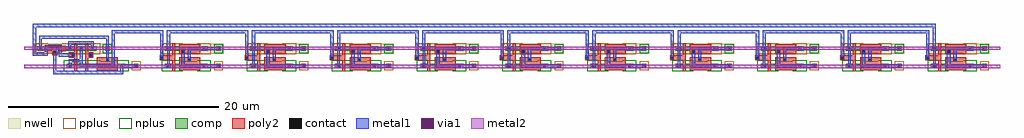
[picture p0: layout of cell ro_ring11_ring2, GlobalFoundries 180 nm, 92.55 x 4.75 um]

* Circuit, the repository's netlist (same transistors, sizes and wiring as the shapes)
* ro_ring11_ring2 -- LVS reference (schematic-side) netlist, ring2 sizing.
*
* Hand-derived, NOT a copy of `klt extract` output -- see
* layout/testcells/trng_tc_inv.spice for why that distinction matters (an
* LVS run whose reference is the extractor's own output proves nothing).
* Same technique as layout/rings/ro_ring11/ro_ring11.spice's own header
* describes: *mechanically expanded* by hand (eleven lines of
* substitution) from layout/cells/ro_stage_ring2/ro_stage_ring2.spice and
* layout/cells/ro_nand2_ring2/ro_nand2_ring2.spice -- each already
* independently hand-transcribed from its own xschem schematic -- following
* exactly the connectivity design/ro_array_core.spice's own `.subckt
* ro_ring11` declares, at ring2's own instantiation (`xr2 ... ro_ring11
* wstv=0.240u lstv=2u ...`):
*
*   xg  ro en n1  vddr vss ro_nand2   (a=ro en=en y=n1)
*   x1  n1    n2  vddr vss ro_stage   (a=n1 y=n2)
*   x2  n2    n3  vddr vss ro_stage
*   ...
*   x10 n10   ro  vddr vss ro_stage   (a=n10 y=ro, closing the loop)
*
* This still satisfies "independent of the layout": neither this file nor
* its two source references were ever derived from this cell's own drawn
* geometry or from `klt extract`'s output on it -- ro_stage_ring2.spice and
* ro_nand2_ring2.spice are each independently hand-transcribed from their
* own schematic, and the chain above is the *design*'s own declared
* netlist (design/ro_array_core.spice), not this layout's.
*
* Each instance keeps its own internal nodes (`py`/`ny`/`nm` -- the
* series-starve/internal nodes neither ro_stage_ring2.spice nor
* ro_nand2_ring2.spice exposes as a pin) suffixed by instance name
* (`py_X1`, `ny_XG`, ...) so eleven separately-drawn cells' internal nodes
* are never accidentally tied together by a shared name.
*
* Device sizes must agree with layout/cells/ro_stage_ring2/build.py's and
* layout/cells/ro_nand2_ring2/build.py's own W/L constants (ring2 sizing,
* `wstv=0.24u` on every starve device, `wstv` unaffected on the switching
* pairs) -- `klt lvs` compares W and L as device properties, the same rule
* every other reference in this repository follows.
*
* Bulk terminals: every cell, ring and block draws an Nwell tap tied to
* `vddr` and a substrate tap tied to `vss` (layout/testcells/gdsii.py's
* `add_taps`; klt >= 0.8.0's `comp.tap_distance.*` requires them), so the
* extractor reports every PMOS bulk as `vddr` and every NMOS bulk as
* `vss` -- the same bulk connections design/xschem/ wires. There is no
* `vsubs` pin and no floating-well net any more.

.SUBCKT ro_ring11_ring2 en ro vddr vss
MMPH_XG py_XG vss vddr vddr pfet L=2.0U W=0.24U
MMPA_XG n1 ro py_XG vddr pfet L=0.28U W=0.44U
MMPB_XG n1 en py_XG vddr pfet L=0.28U W=0.44U
MMNA_XG n1 ro nm_XG vss nfet L=0.28U W=0.44U
MMNB_XG nm_XG en ny_XG vss nfet L=0.28U W=0.44U
MMNT_XG ny_XG vddr vss vss nfet L=2.0U W=0.24U
MMPH_X1 py_X1 vss vddr vddr pfet L=2.0U W=0.24U
MMP_X1 n2 n1 py_X1 vddr pfet L=0.28U W=0.44U
MMN_X1 n2 n1 ny_X1 vss nfet L=0.28U W=0.22U
MMNT_X1 ny_X1 vddr vss vss nfet L=2.0U W=0.24U
MMPH_X2 py_X2 vss vddr vddr pfet L=2.0U W=0.24U
MMP_X2 n3 n2 py_X2 vddr pfet L=0.28U W=0.44U
MMN_X2 n3 n2 ny_X2 vss nfet L=0.28U W=0.22U
MMNT_X2 ny_X2 vddr vss vss nfet L=2.0U W=0.24U
MMPH_X3 py_X3 vss vddr vddr pfet L=2.0U W=0.24U
MMP_X3 n4 n3 py_X3 vddr pfet L=0.28U W=0.44U
MMN_X3 n4 n3 ny_X3 vss nfet L=0.28U W=0.22U
MMNT_X3 ny_X3 vddr vss vss nfet L=2.0U W=0.24U
MMPH_X4 py_X4 vss vddr vddr pfet L=2.0U W=0.24U
MMP_X4 n5 n4 py_X4 vddr pfet L=0.28U W=0.44U
MMN_X4 n5 n4 ny_X4 vss nfet L=0.28U W=0.22U
MMNT_X4 ny_X4 vddr vss vss nfet L=2.0U W=0.24U
MMPH_X5 py_X5 vss vddr vddr pfet L=2.0U W=0.24U
MMP_X5 n6 n5 py_X5 vddr pfet L=0.28U W=0.44U
MMN_X5 n6 n5 ny_X5 vss nfet L=0.28U W=0.22U
MMNT_X5 ny_X5 vddr vss vss nfet L=2.0U W=0.24U
MMPH_X6 py_X6 vss vddr vddr pfet L=2.0U W=0.24U
MMP_X6 n7 n6 py_X6 vddr pfet L=0.28U W=0.44U
MMN_X6 n7 n6 ny_X6 vss nfet L=0.28U W=0.22U
MMNT_X6 ny_X6 vddr vss vss nfet L=2.0U W=0.24U
MMPH_X7 py_X7 vss vddr vddr pfet L=2.0U W=0.24U
MMP_X7 n8 n7 py_X7 vddr pfet L=0.28U W=0.44U
MMN_X7 n8 n7 ny_X7 vss nfet L=0.28U W=0.22U
MMNT_X7 ny_X7 vddr vss vss nfet L=2.0U W=0.24U
MMPH_X8 py_X8 vss vddr vddr pfet L=2.0U W=0.24U
MMP_X8 n9 n8 py_X8 vddr pfet L=0.28U W=0.44U
MMN_X8 n9 n8 ny_X8 vss nfet L=0.28U W=0.22U
MMNT_X8 ny_X8 vddr vss vss nfet L=2.0U W=0.24U
MMPH_X9 py_X9 vss vddr vddr pfet L=2.0U W=0.24U
MMP_X9 n10 n9 py_X9 vddr pfet L=0.28U W=0.44U
MMN_X9 n10 n9 ny_X9 vss nfet L=0.28U W=0.22U
MMNT_X9 ny_X9 vddr vss vss nfet L=2.0U W=0.24U
MMPH_X10 py_X10 vss vddr vddr pfet L=2.0U W=0.24U
MMP_X10 ro n10 py_X10 vddr pfet L=0.28U W=0.44U
MMN_X10 ro n10 ny_X10 vss nfet L=0.28U W=0.22U
MMNT_X10 ny_X10 vddr vss vss nfet L=2.0U W=0.24U
.ENDS ro_ring11_ring2

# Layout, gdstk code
import gdstk
lib = gdstk.Library(unit=1e-6, precision=1e-09)
def R(c, l, rs):  # rectangles x0, y0, x1, y1
    for r in rs: c.add(gdstk.rectangle(r[:2], r[2:], *l))
def A(c, l, x, y, w, h, nx, ny, dx, dy):  # array of equal rectangles
    R(c, l, [(x+i*dx, y+j*dy, x+i*dx+w, y+j*dy+h) for i in range(nx) for j in range(ny)])
nwell = (21, 0)
comp = (22, 0)
poly2 = (30, 0)
pplus = (31, 0)
nplus = (32, 0)
contact = (33, 0)
metal1 = (34, 0)
via1 = (35, 0)
metal2 = (36, 0)

xg__ro_nand2_ring2 = lib.new_cell('xg__ro_nand2_ring2')
R(xg__ro_nand2_ring2, nwell, [(-3.05,1.39,3.11,2.33), (3.01,1.39,4.33,2.33)])
R(xg__ro_nand2_ring2, comp, [(0,0,2.86,0.44), (4.86,0,5.56,0.44), (6.36,0,6.8,0.44), (2.86,0.1,4.86,0.34), (-2.8,1.64,-2.1,2.08), (-0.1,1.64,2.86,2.08), (3.64,1.64,4.08,2.08), (-2.1,1.74,-0.1,1.98)])
R(xg__ro_nand2_ring2, poly2, [(0.7,-0.3,0.98,2.38), (1.78,-0.3,2.06,2.38), (2.86,-0.2,4.86,1.05), (0.2,1,0.98,1.5), (1.78,1,2.5,1.5), (-1.35,1.25,-0.85,1.7), (-2.1,1.59,-0.1,2.13)])
R(xg__ro_nand2_ring2, pplus, [(6.16,-0.2,7,0.64), (-3.1,1.34,-1.8,2.38), (-0.4,1.34,3.16,2.38), (-2.4,1.44,0.2,2.28)])
R(xg__ro_nand2_ring2, nplus, [(-0.3,-0.3,3.16,0.74), (4.56,-0.3,5.86,0.74), (2.56,-0.2,5.16,0.64), (3.44,1.44,4.28,2.28)])
R(xg__ro_nand2_ring2, contact, [(0.24,0.11,0.46,0.33), (5.1,0.11,5.32,0.33), (6.47,0.11,6.69,0.33), (3.75,0.7,3.97,0.92), (0.48,1.14,0.7,1.36), (2.15,1.14,2.37,1.36), (-1.24,1.4,-1.02,1.62), (-2.6,1.75,-2.38,1.97), (0.18,1.75,0.4,1.97), (1.27,1.75,1.49,1.97), (2.34,1.75,2.56,1.97), (3.75,1.75,3.97,1.97)])
R(xg__ro_nand2_ring2, metal1, [(-1.26,-0.55,-1,1.64), (-1.26,-0.55,5.34,-0.25), (5.08,-0.55,5.34,0.35), (5.24,0.07,6.8,0.37), (0.2,0.09,0.5,0.85), (0.2,0.55,1.53,0.85), (1.23,0.55,1.53,1.99), (3.73,0.68,3.99,3.1), (0.44,1.1,0.74,1.4), (2.11,1.1,2.41,1.4), (-2.62,1.73,-2.36,3.1), (0.16,1.73,0.42,2.55), (2.32,1.73,2.58,2.55), (0.16,2.25,2.58,2.55), (-2.62,2.8,3.99,3.1)])
xg__ro_nand2_ring2.add(gdstk.Label('a', (0.59,1.25), layer=34, texttype=10))
xg__ro_nand2_ring2.add(gdstk.Label('en', (2.26,1.25), layer=34, texttype=10))
xg__ro_nand2_ring2.add(gdstk.Label('y', (0.35,0.22), layer=34, texttype=10))
xg__ro_nand2_ring2.add(gdstk.Label('vddr', (-2.45,1.86), layer=34, texttype=10))
xg__ro_nand2_ring2.add(gdstk.Label('vss', (5.21,0.22), layer=34, texttype=10))

x1__ro_stage_ring2 = lib.new_cell('x1__ro_stage_ring2')
R(x1__ro_stage_ring2, nwell, [(-0.25,1.39,4.33,2.33), (4.23,1.39,5.57,2.33)])
R(x1__ro_stage_ring2, comp, [(0,0,0.7,0.44), (0.98,0,1.38,0.44), (3.38,0,4.08,0.44), (4.88,0,5.32,0.44), (1.38,0.1,3.38,0.34), (0.7,0.11,0.98,0.33), (0,1.64,0.7,2.08), (0.7,1.64,1.38,2.08), (3.38,1.64,4.08,2.08), (4.88,1.64,5.32,2.08), (1.38,1.74,3.38,1.98)])
R(x1__ro_stage_ring2, poly2, [(0.7,-0.3,0.98,2.38), (1.38,-0.2,3.38,1.05), (-0.5,0.75,0.98,1.25), (1.38,1.35,3.38,2.28)])
R(x1__ro_stage_ring2, pplus, [(4.68,-0.2,5.52,0.64), (-0.3,1.34,1,2.38), (0.4,1.34,1.68,2.38), (3.08,1.34,4.38,2.38), (1.08,1.44,3.68,2.28)])
R(x1__ro_stage_ring2, nplus, [(-0.3,-0.3,1,0.74), (0.68,-0.3,1.68,0.74), (3.08,-0.3,4.38,0.74), (1.08,-0.2,3.68,0.64), (0.4,-0.19,1.28,0.63), (4.68,1.44,5.52,2.28)])
R(x1__ro_stage_ring2, contact, [(0.24,0.11,0.46,0.33), (3.62,0.11,3.84,0.33), (4.99,0.11,5.21,0.33), (2.2,0.7,2.42,0.92), (-0.4,0.89,-0.18,1.11), (1.6,1.48,1.82,1.7), (0.24,1.75,0.46,1.97), (3.62,1.75,3.84,1.97), (4.99,1.75,5.21,1.97)])
R(x1__ro_stage_ring2, metal1, [(0.14,0.01,0.56,0.43), (3.52,0.01,3.94,0.43), (1.54,0.07,3.9,0.37), (3.84,0.07,5.32,0.37), (1.54,0.2,1.88,1.82), (0.23,0.4,0.47,1.68), (2.16,0.65,2.46,1.85), (-0.44,0.85,-0.14,1.15), (0.14,1.65,0.56,2.07), (3.52,1.65,3.94,2.07), (2.16,1.71,3.9,2.01), (3.84,1.71,5.32,2.01)])
x1__ro_stage_ring2.add(gdstk.Label('a', (-0.29,1), layer=34, texttype=10))
x1__ro_stage_ring2.add(gdstk.Label('y', (0.35,0.22), layer=34, texttype=10))
x1__ro_stage_ring2.add(gdstk.Label('vss', (3.63,0.22), layer=34, texttype=10))
x1__ro_stage_ring2.add(gdstk.Label('vddr', (3.63,1.86), layer=34, texttype=10))

x2__ro_stage_ring2 = lib.new_cell('x2__ro_stage_ring2')
R(x2__ro_stage_ring2, nwell, [(-0.25,1.39,4.33,2.33), (4.23,1.39,5.57,2.33)])
R(x2__ro_stage_ring2, comp, [(0,0,0.7,0.44), (0.98,0,1.38,0.44), (3.38,0,4.08,0.44), (4.88,0,5.32,0.44), (1.38,0.1,3.38,0.34), (0.7,0.11,0.98,0.33), (0,1.64,0.7,2.08), (0.7,1.64,1.38,2.08), (3.38,1.64,4.08,2.08), (4.88,1.64,5.32,2.08), (1.38,1.74,3.38,1.98)])
R(x2__ro_stage_ring2, poly2, [(0.7,-0.3,0.98,2.38), (1.38,-0.2,3.38,1.05), (-0.5,0.75,0.98,1.25), (1.38,1.35,3.38,2.28)])
R(x2__ro_stage_ring2, pplus, [(4.68,-0.2,5.52,0.64), (-0.3,1.34,1,2.38), (0.4,1.34,1.68,2.38), (3.08,1.34,4.38,2.38), (1.08,1.44,3.68,2.28)])
R(x2__ro_stage_ring2, nplus, [(-0.3,-0.3,1,0.74), (0.68,-0.3,1.68,0.74), (3.08,-0.3,4.38,0.74), (1.08,-0.2,3.68,0.64), (0.4,-0.19,1.28,0.63), (4.68,1.44,5.52,2.28)])
R(x2__ro_stage_ring2, contact, [(0.24,0.11,0.46,0.33), (3.62,0.11,3.84,0.33), (4.99,0.11,5.21,0.33), (2.2,0.7,2.42,0.92), (-0.4,0.89,-0.18,1.11), (1.6,1.48,1.82,1.7), (0.24,1.75,0.46,1.97), (3.62,1.75,3.84,1.97), (4.99,1.75,5.21,1.97)])
R(x2__ro_stage_ring2, metal1, [(0.14,0.01,0.56,0.43), (3.52,0.01,3.94,0.43), (1.54,0.07,3.9,0.37), (3.84,0.07,5.32,0.37), (1.54,0.2,1.88,1.82), (0.23,0.4,0.47,1.68), (2.16,0.65,2.46,1.85), (-0.44,0.85,-0.14,1.15), (0.14,1.65,0.56,2.07), (3.52,1.65,3.94,2.07), (2.16,1.71,3.9,2.01), (3.84,1.71,5.32,2.01)])
x2__ro_stage_ring2.add(gdstk.Label('a', (-0.29,1), layer=34, texttype=10))
x2__ro_stage_ring2.add(gdstk.Label('y', (0.35,0.22), layer=34, texttype=10))
x2__ro_stage_ring2.add(gdstk.Label('vss', (3.63,0.22), layer=34, texttype=10))
x2__ro_stage_ring2.add(gdstk.Label('vddr', (3.63,1.86), layer=34, texttype=10))

x3__ro_stage_ring2 = lib.new_cell('x3__ro_stage_ring2')
R(x3__ro_stage_ring2, nwell, [(-0.25,1.39,4.33,2.33), (4.23,1.39,5.57,2.33)])
R(x3__ro_stage_ring2, comp, [(0,0,0.7,0.44), (0.98,0,1.38,0.44), (3.38,0,4.08,0.44), (4.88,0,5.32,0.44), (1.38,0.1,3.38,0.34), (0.7,0.11,0.98,0.33), (0,1.64,0.7,2.08), (0.7,1.64,1.38,2.08), (3.38,1.64,4.08,2.08), (4.88,1.64,5.32,2.08), (1.38,1.74,3.38,1.98)])
R(x3__ro_stage_ring2, poly2, [(0.7,-0.3,0.98,2.38), (1.38,-0.2,3.38,1.05), (-0.5,0.75,0.98,1.25), (1.38,1.35,3.38,2.28)])
R(x3__ro_stage_ring2, pplus, [(4.68,-0.2,5.52,0.64), (-0.3,1.34,1,2.38), (0.4,1.34,1.68,2.38), (3.08,1.34,4.38,2.38), (1.08,1.44,3.68,2.28)])
R(x3__ro_stage_ring2, nplus, [(-0.3,-0.3,1,0.74), (0.68,-0.3,1.68,0.74), (3.08,-0.3,4.38,0.74), (1.08,-0.2,3.68,0.64), (0.4,-0.19,1.28,0.63), (4.68,1.44,5.52,2.28)])
R(x3__ro_stage_ring2, contact, [(0.24,0.11,0.46,0.33), (3.62,0.11,3.84,0.33), (4.99,0.11,5.21,0.33), (2.2,0.7,2.42,0.92), (-0.4,0.89,-0.18,1.11), (1.6,1.48,1.82,1.7), (0.24,1.75,0.46,1.97), (3.62,1.75,3.84,1.97), (4.99,1.75,5.21,1.97)])
R(x3__ro_stage_ring2, metal1, [(0.14,0.01,0.56,0.43), (3.52,0.01,3.94,0.43), (1.54,0.07,3.9,0.37), (3.84,0.07,5.32,0.37), (1.54,0.2,1.88,1.82), (0.23,0.4,0.47,1.68), (2.16,0.65,2.46,1.85), (-0.44,0.85,-0.14,1.15), (0.14,1.65,0.56,2.07), (3.52,1.65,3.94,2.07), (2.16,1.71,3.9,2.01), (3.84,1.71,5.32,2.01)])
x3__ro_stage_ring2.add(gdstk.Label('a', (-0.29,1), layer=34, texttype=10))
x3__ro_stage_ring2.add(gdstk.Label('y', (0.35,0.22), layer=34, texttype=10))
x3__ro_stage_ring2.add(gdstk.Label('vss', (3.63,0.22), layer=34, texttype=10))
x3__ro_stage_ring2.add(gdstk.Label('vddr', (3.63,1.86), layer=34, texttype=10))

x4__ro_stage_ring2 = lib.new_cell('x4__ro_stage_ring2')
R(x4__ro_stage_ring2, nwell, [(-0.25,1.39,4.33,2.33), (4.23,1.39,5.57,2.33)])
R(x4__ro_stage_ring2, comp, [(0,0,0.7,0.44), (0.98,0,1.38,0.44), (3.38,0,4.08,0.44), (4.88,0,5.32,0.44), (1.38,0.1,3.38,0.34), (0.7,0.11,0.98,0.33), (0,1.64,0.7,2.08), (0.7,1.64,1.38,2.08), (3.38,1.64,4.08,2.08), (4.88,1.64,5.32,2.08), (1.38,1.74,3.38,1.98)])
R(x4__ro_stage_ring2, poly2, [(0.7,-0.3,0.98,2.38), (1.38,-0.2,3.38,1.05), (-0.5,0.75,0.98,1.25), (1.38,1.35,3.38,2.28)])
R(x4__ro_stage_ring2, pplus, [(4.68,-0.2,5.52,0.64), (-0.3,1.34,1,2.38), (0.4,1.34,1.68,2.38), (3.08,1.34,4.38,2.38), (1.08,1.44,3.68,2.28)])
R(x4__ro_stage_ring2, nplus, [(-0.3,-0.3,1,0.74), (0.68,-0.3,1.68,0.74), (3.08,-0.3,4.38,0.74), (1.08,-0.2,3.68,0.64), (0.4,-0.19,1.28,0.63), (4.68,1.44,5.52,2.28)])
R(x4__ro_stage_ring2, contact, [(0.24,0.11,0.46,0.33), (3.62,0.11,3.84,0.33), (4.99,0.11,5.21,0.33), (2.2,0.7,2.42,0.92), (-0.4,0.89,-0.18,1.11), (1.6,1.48,1.82,1.7), (0.24,1.75,0.46,1.97), (3.62,1.75,3.84,1.97), (4.99,1.75,5.21,1.97)])
R(x4__ro_stage_ring2, metal1, [(0.14,0.01,0.56,0.43), (3.52,0.01,3.94,0.43), (1.54,0.07,3.9,0.37), (3.84,0.07,5.32,0.37), (1.54,0.2,1.88,1.82), (0.23,0.4,0.47,1.68), (2.16,0.65,2.46,1.85), (-0.44,0.85,-0.14,1.15), (0.14,1.65,0.56,2.07), (3.52,1.65,3.94,2.07), (2.16,1.71,3.9,2.01), (3.84,1.71,5.32,2.01)])
x4__ro_stage_ring2.add(gdstk.Label('a', (-0.29,1), layer=34, texttype=10))
x4__ro_stage_ring2.add(gdstk.Label('y', (0.35,0.22), layer=34, texttype=10))
x4__ro_stage_ring2.add(gdstk.Label('vss', (3.63,0.22), layer=34, texttype=10))
x4__ro_stage_ring2.add(gdstk.Label('vddr', (3.63,1.86), layer=34, texttype=10))

x5__ro_stage_ring2 = lib.new_cell('x5__ro_stage_ring2')
R(x5__ro_stage_ring2, nwell, [(-0.25,1.39,4.33,2.33), (4.23,1.39,5.57,2.33)])
R(x5__ro_stage_ring2, comp, [(0,0,0.7,0.44), (0.98,0,1.38,0.44), (3.38,0,4.08,0.44), (4.88,0,5.32,0.44), (1.38,0.1,3.38,0.34), (0.7,0.11,0.98,0.33), (0,1.64,0.7,2.08), (0.7,1.64,1.38,2.08), (3.38,1.64,4.08,2.08), (4.88,1.64,5.32,2.08), (1.38,1.74,3.38,1.98)])
R(x5__ro_stage_ring2, poly2, [(0.7,-0.3,0.98,2.38), (1.38,-0.2,3.38,1.05), (-0.5,0.75,0.98,1.25), (1.38,1.35,3.38,2.28)])
R(x5__ro_stage_ring2, pplus, [(4.68,-0.2,5.52,0.64), (-0.3,1.34,1,2.38), (0.4,1.34,1.68,2.38), (3.08,1.34,4.38,2.38), (1.08,1.44,3.68,2.28)])
R(x5__ro_stage_ring2, nplus, [(-0.3,-0.3,1,0.74), (0.68,-0.3,1.68,0.74), (3.08,-0.3,4.38,0.74), (1.08,-0.2,3.68,0.64), (0.4,-0.19,1.28,0.63), (4.68,1.44,5.52,2.28)])
R(x5__ro_stage_ring2, contact, [(0.24,0.11,0.46,0.33), (3.62,0.11,3.84,0.33), (4.99,0.11,5.21,0.33), (2.2,0.7,2.42,0.92), (-0.4,0.89,-0.18,1.11), (1.6,1.48,1.82,1.7), (0.24,1.75,0.46,1.97), (3.62,1.75,3.84,1.97), (4.99,1.75,5.21,1.97)])
R(x5__ro_stage_ring2, metal1, [(0.14,0.01,0.56,0.43), (3.52,0.01,3.94,0.43), (1.54,0.07,3.9,0.37), (3.84,0.07,5.32,0.37), (1.54,0.2,1.88,1.82), (0.23,0.4,0.47,1.68), (2.16,0.65,2.46,1.85), (-0.44,0.85,-0.14,1.15), (0.14,1.65,0.56,2.07), (3.52,1.65,3.94,2.07), (2.16,1.71,3.9,2.01), (3.84,1.71,5.32,2.01)])
x5__ro_stage_ring2.add(gdstk.Label('a', (-0.29,1), layer=34, texttype=10))
x5__ro_stage_ring2.add(gdstk.Label('y', (0.35,0.22), layer=34, texttype=10))
x5__ro_stage_ring2.add(gdstk.Label('vss', (3.63,0.22), layer=34, texttype=10))
x5__ro_stage_ring2.add(gdstk.Label('vddr', (3.63,1.86), layer=34, texttype=10))

x6__ro_stage_ring2 = lib.new_cell('x6__ro_stage_ring2')
R(x6__ro_stage_ring2, nwell, [(-0.25,1.39,4.33,2.33), (4.23,1.39,5.57,2.33)])
R(x6__ro_stage_ring2, comp, [(0,0,0.7,0.44), (0.98,0,1.38,0.44), (3.38,0,4.08,0.44), (4.88,0,5.32,0.44), (1.38,0.1,3.38,0.34), (0.7,0.11,0.98,0.33), (0,1.64,0.7,2.08), (0.7,1.64,1.38,2.08), (3.38,1.64,4.08,2.08), (4.88,1.64,5.32,2.08), (1.38,1.74,3.38,1.98)])
R(x6__ro_stage_ring2, poly2, [(0.7,-0.3,0.98,2.38), (1.38,-0.2,3.38,1.05), (-0.5,0.75,0.98,1.25), (1.38,1.35,3.38,2.28)])
R(x6__ro_stage_ring2, pplus, [(4.68,-0.2,5.52,0.64), (-0.3,1.34,1,2.38), (0.4,1.34,1.68,2.38), (3.08,1.34,4.38,2.38), (1.08,1.44,3.68,2.28)])
R(x6__ro_stage_ring2, nplus, [(-0.3,-0.3,1,0.74), (0.68,-0.3,1.68,0.74), (3.08,-0.3,4.38,0.74), (1.08,-0.2,3.68,0.64), (0.4,-0.19,1.28,0.63), (4.68,1.44,5.52,2.28)])
R(x6__ro_stage_ring2, contact, [(0.24,0.11,0.46,0.33), (3.62,0.11,3.84,0.33), (4.99,0.11,5.21,0.33), (2.2,0.7,2.42,0.92), (-0.4,0.89,-0.18,1.11), (1.6,1.48,1.82,1.7), (0.24,1.75,0.46,1.97), (3.62,1.75,3.84,1.97), (4.99,1.75,5.21,1.97)])
R(x6__ro_stage_ring2, metal1, [(0.14,0.01,0.56,0.43), (3.52,0.01,3.94,0.43), (1.54,0.07,3.9,0.37), (3.84,0.07,5.32,0.37), (1.54,0.2,1.88,1.82), (0.23,0.4,0.47,1.68), (2.16,0.65,2.46,1.85), (-0.44,0.85,-0.14,1.15), (0.14,1.65,0.56,2.07), (3.52,1.65,3.94,2.07), (2.16,1.71,3.9,2.01), (3.84,1.71,5.32,2.01)])
x6__ro_stage_ring2.add(gdstk.Label('a', (-0.29,1), layer=34, texttype=10))
x6__ro_stage_ring2.add(gdstk.Label('y', (0.35,0.22), layer=34, texttype=10))
x6__ro_stage_ring2.add(gdstk.Label('vss', (3.63,0.22), layer=34, texttype=10))
x6__ro_stage_ring2.add(gdstk.Label('vddr', (3.63,1.86), layer=34, texttype=10))

x7__ro_stage_ring2 = lib.new_cell('x7__ro_stage_ring2')
R(x7__ro_stage_ring2, nwell, [(-0.25,1.39,4.33,2.33), (4.23,1.39,5.57,2.33)])
R(x7__ro_stage_ring2, comp, [(0,0,0.7,0.44), (0.98,0,1.38,0.44), (3.38,0,4.08,0.44), (4.88,0,5.32,0.44), (1.38,0.1,3.38,0.34), (0.7,0.11,0.98,0.33), (0,1.64,0.7,2.08), (0.7,1.64,1.38,2.08), (3.38,1.64,4.08,2.08), (4.88,1.64,5.32,2.08), (1.38,1.74,3.38,1.98)])
R(x7__ro_stage_ring2, poly2, [(0.7,-0.3,0.98,2.38), (1.38,-0.2,3.38,1.05), (-0.5,0.75,0.98,1.25), (1.38,1.35,3.38,2.28)])
R(x7__ro_stage_ring2, pplus, [(4.68,-0.2,5.52,0.64), (-0.3,1.34,1,2.38), (0.4,1.34,1.68,2.38), (3.08,1.34,4.38,2.38), (1.08,1.44,3.68,2.28)])
R(x7__ro_stage_ring2, nplus, [(-0.3,-0.3,1,0.74), (0.68,-0.3,1.68,0.74), (3.08,-0.3,4.38,0.74), (1.08,-0.2,3.68,0.64), (0.4,-0.19,1.28,0.63), (4.68,1.44,5.52,2.28)])
R(x7__ro_stage_ring2, contact, [(0.24,0.11,0.46,0.33), (3.62,0.11,3.84,0.33), (4.99,0.11,5.21,0.33), (2.2,0.7,2.42,0.92), (-0.4,0.89,-0.18,1.11), (1.6,1.48,1.82,1.7), (0.24,1.75,0.46,1.97), (3.62,1.75,3.84,1.97), (4.99,1.75,5.21,1.97)])
R(x7__ro_stage_ring2, metal1, [(0.14,0.01,0.56,0.43), (3.52,0.01,3.94,0.43), (1.54,0.07,3.9,0.37), (3.84,0.07,5.32,0.37), (1.54,0.2,1.88,1.82), (0.23,0.4,0.47,1.68), (2.16,0.65,2.46,1.85), (-0.44,0.85,-0.14,1.15), (0.14,1.65,0.56,2.07), (3.52,1.65,3.94,2.07), (2.16,1.71,3.9,2.01), (3.84,1.71,5.32,2.01)])
x7__ro_stage_ring2.add(gdstk.Label('a', (-0.29,1), layer=34, texttype=10))
x7__ro_stage_ring2.add(gdstk.Label('y', (0.35,0.22), layer=34, texttype=10))
x7__ro_stage_ring2.add(gdstk.Label('vss', (3.63,0.22), layer=34, texttype=10))
x7__ro_stage_ring2.add(gdstk.Label('vddr', (3.63,1.86), layer=34, texttype=10))

x8__ro_stage_ring2 = lib.new_cell('x8__ro_stage_ring2')
R(x8__ro_stage_ring2, nwell, [(-0.25,1.39,4.33,2.33), (4.23,1.39,5.57,2.33)])
R(x8__ro_stage_ring2, comp, [(0,0,0.7,0.44), (0.98,0,1.38,0.44), (3.38,0,4.08,0.44), (4.88,0,5.32,0.44), (1.38,0.1,3.38,0.34), (0.7,0.11,0.98,0.33), (0,1.64,0.7,2.08), (0.7,1.64,1.38,2.08), (3.38,1.64,4.08,2.08), (4.88,1.64,5.32,2.08), (1.38,1.74,3.38,1.98)])
R(x8__ro_stage_ring2, poly2, [(0.7,-0.3,0.98,2.38), (1.38,-0.2,3.38,1.05), (-0.5,0.75,0.98,1.25), (1.38,1.35,3.38,2.28)])
R(x8__ro_stage_ring2, pplus, [(4.68,-0.2,5.52,0.64), (-0.3,1.34,1,2.38), (0.4,1.34,1.68,2.38), (3.08,1.34,4.38,2.38), (1.08,1.44,3.68,2.28)])
R(x8__ro_stage_ring2, nplus, [(-0.3,-0.3,1,0.74), (0.68,-0.3,1.68,0.74), (3.08,-0.3,4.38,0.74), (1.08,-0.2,3.68,0.64), (0.4,-0.19,1.28,0.63), (4.68,1.44,5.52,2.28)])
R(x8__ro_stage_ring2, contact, [(0.24,0.11,0.46,0.33), (3.62,0.11,3.84,0.33), (4.99,0.11,5.21,0.33), (2.2,0.7,2.42,0.92), (-0.4,0.89,-0.18,1.11), (1.6,1.48,1.82,1.7), (0.24,1.75,0.46,1.97), (3.62,1.75,3.84,1.97), (4.99,1.75,5.21,1.97)])
R(x8__ro_stage_ring2, metal1, [(0.14,0.01,0.56,0.43), (3.52,0.01,3.94,0.43), (1.54,0.07,3.9,0.37), (3.84,0.07,5.32,0.37), (1.54,0.2,1.88,1.82), (0.23,0.4,0.47,1.68), (2.16,0.65,2.46,1.85), (-0.44,0.85,-0.14,1.15), (0.14,1.65,0.56,2.07), (3.52,1.65,3.94,2.07), (2.16,1.71,3.9,2.01), (3.84,1.71,5.32,2.01)])
x8__ro_stage_ring2.add(gdstk.Label('a', (-0.29,1), layer=34, texttype=10))
x8__ro_stage_ring2.add(gdstk.Label('y', (0.35,0.22), layer=34, texttype=10))
x8__ro_stage_ring2.add(gdstk.Label('vss', (3.63,0.22), layer=34, texttype=10))
x8__ro_stage_ring2.add(gdstk.Label('vddr', (3.63,1.86), layer=34, texttype=10))

x9__ro_stage_ring2 = lib.new_cell('x9__ro_stage_ring2')
R(x9__ro_stage_ring2, nwell, [(-0.25,1.39,4.33,2.33), (4.23,1.39,5.57,2.33)])
R(x9__ro_stage_ring2, comp, [(0,0,0.7,0.44), (0.98,0,1.38,0.44), (3.38,0,4.08,0.44), (4.88,0,5.32,0.44), (1.38,0.1,3.38,0.34), (0.7,0.11,0.98,0.33), (0,1.64,0.7,2.08), (0.7,1.64,1.38,2.08), (3.38,1.64,4.08,2.08), (4.88,1.64,5.32,2.08), (1.38,1.74,3.38,1.98)])
R(x9__ro_stage_ring2, poly2, [(0.7,-0.3,0.98,2.38), (1.38,-0.2,3.38,1.05), (-0.5,0.75,0.98,1.25), (1.38,1.35,3.38,2.28)])
R(x9__ro_stage_ring2, pplus, [(4.68,-0.2,5.52,0.64), (-0.3,1.34,1,2.38), (0.4,1.34,1.68,2.38), (3.08,1.34,4.38,2.38), (1.08,1.44,3.68,2.28)])
R(x9__ro_stage_ring2, nplus, [(-0.3,-0.3,1,0.74), (0.68,-0.3,1.68,0.74), (3.08,-0.3,4.38,0.74), (1.08,-0.2,3.68,0.64), (0.4,-0.19,1.28,0.63), (4.68,1.44,5.52,2.28)])
R(x9__ro_stage_ring2, contact, [(0.24,0.11,0.46,0.33), (3.62,0.11,3.84,0.33), (4.99,0.11,5.21,0.33), (2.2,0.7,2.42,0.92), (-0.4,0.89,-0.18,1.11), (1.6,1.48,1.82,1.7), (0.24,1.75,0.46,1.97), (3.62,1.75,3.84,1.97), (4.99,1.75,5.21,1.97)])
R(x9__ro_stage_ring2, metal1, [(0.14,0.01,0.56,0.43), (3.52,0.01,3.94,0.43), (1.54,0.07,3.9,0.37), (3.84,0.07,5.32,0.37), (1.54,0.2,1.88,1.82), (0.23,0.4,0.47,1.68), (2.16,0.65,2.46,1.85), (-0.44,0.85,-0.14,1.15), (0.14,1.65,0.56,2.07), (3.52,1.65,3.94,2.07), (2.16,1.71,3.9,2.01), (3.84,1.71,5.32,2.01)])
x9__ro_stage_ring2.add(gdstk.Label('a', (-0.29,1), layer=34, texttype=10))
x9__ro_stage_ring2.add(gdstk.Label('y', (0.35,0.22), layer=34, texttype=10))
x9__ro_stage_ring2.add(gdstk.Label('vss', (3.63,0.22), layer=34, texttype=10))
x9__ro_stage_ring2.add(gdstk.Label('vddr', (3.63,1.86), layer=34, texttype=10))

x10__ro_stage_ring2 = lib.new_cell('x10__ro_stage_ring2')
R(x10__ro_stage_ring2, nwell, [(-0.25,1.39,4.33,2.33), (4.23,1.39,5.57,2.33)])
R(x10__ro_stage_ring2, comp, [(0,0,0.7,0.44), (0.98,0,1.38,0.44), (3.38,0,4.08,0.44), (4.88,0,5.32,0.44), (1.38,0.1,3.38,0.34), (0.7,0.11,0.98,0.33), (0,1.64,0.7,2.08), (0.7,1.64,1.38,2.08), (3.38,1.64,4.08,2.08), (4.88,1.64,5.32,2.08), (1.38,1.74,3.38,1.98)])
R(x10__ro_stage_ring2, poly2, [(0.7,-0.3,0.98,2.38), (1.38,-0.2,3.38,1.05), (-0.5,0.75,0.98,1.25), (1.38,1.35,3.38,2.28)])
R(x10__ro_stage_ring2, pplus, [(4.68,-0.2,5.52,0.64), (-0.3,1.34,1,2.38), (0.4,1.34,1.68,2.38), (3.08,1.34,4.38,2.38), (1.08,1.44,3.68,2.28)])
R(x10__ro_stage_ring2, nplus, [(-0.3,-0.3,1,0.74), (0.68,-0.3,1.68,0.74), (3.08,-0.3,4.38,0.74), (1.08,-0.2,3.68,0.64), (0.4,-0.19,1.28,0.63), (4.68,1.44,5.52,2.28)])
R(x10__ro_stage_ring2, contact, [(0.24,0.11,0.46,0.33), (3.62,0.11,3.84,0.33), (4.99,0.11,5.21,0.33), (2.2,0.7,2.42,0.92), (-0.4,0.89,-0.18,1.11), (1.6,1.48,1.82,1.7), (0.24,1.75,0.46,1.97), (3.62,1.75,3.84,1.97), (4.99,1.75,5.21,1.97)])
R(x10__ro_stage_ring2, metal1, [(0.14,0.01,0.56,0.43), (3.52,0.01,3.94,0.43), (1.54,0.07,3.9,0.37), (3.84,0.07,5.32,0.37), (1.54,0.2,1.88,1.82), (0.23,0.4,0.47,1.68), (2.16,0.65,2.46,1.85), (-0.44,0.85,-0.14,1.15), (0.14,1.65,0.56,2.07), (3.52,1.65,3.94,2.07), (2.16,1.71,3.9,2.01), (3.84,1.71,5.32,2.01)])
x10__ro_stage_ring2.add(gdstk.Label('a', (-0.29,1), layer=34, texttype=10))
x10__ro_stage_ring2.add(gdstk.Label('y', (0.35,0.22), layer=34, texttype=10))
x10__ro_stage_ring2.add(gdstk.Label('vss', (3.63,0.22), layer=34, texttype=10))
x10__ro_stage_ring2.add(gdstk.Label('vddr', (3.63,1.86), layer=34, texttype=10))

wire__ro_ring11_ring2_wi = lib.new_cell('wire__ro_ring11_ring2_wiring')
A(wire__ro_ring11_ring2_wi, metal1, 8.86, 1.15, 0.3, 2.45, 10, 1, 8.07, 0)
A(wire__ro_ring11_ring2_wi, metal1, 9.5, 2.07, 0.3, 1.53, 9, 1, 8.07, 0)
A(wire__ro_ring11_ring2_wi, metal1, 9.5, 3.3, 7.73, 0.3, 9, 1, 8.07, 0)
R(wire__ro_ring11_ring2_wi, metal1, [(1.23,0.15,1.53,1), (1.23,0.15,4.55,0.45), (4.25,0.15,4.55,3.6), (-0.75,1.1,0.59,1.4), (-0.75,1.1,-0.45,2.2), (-3.2,1.2,-1.8,1.5), (-3.2,1.2,-2.9,4.2), (-2.1,1.2,-1.8,2.2), (-2.1,1.9,-0.45,2.2), (82.13,2.07,82.43,4.2), (4.25,3.3,9.16,3.6), (-3.2,3.9,82.43,4.2)])
A(wire__ro_ring11_ring2_wi, via1, 12.9, 0.07, 0.26, 0.26, 10, 2, 8.07, 1.7)
R(wire__ro_ring11_ring2_wi, via1, [(5.08,0.07,5.34,0.33), (-2.62,1.77,-2.36,2.03)])
A(wire__ro_ring11_ring2_wi, metal2, 12.88, 0.05, 0.3, 0.3, 10, 2, 8.07, 1.7)
R(wire__ro_ring11_ring2_wi, metal2, [(-4.05,0.02,88.5,0.32), (5.06,0.05,5.36,0.35), (-4.05,1.75,88.5,2.05), (-2.64,1.75,-2.34,2.05)])

ro_ring11_ring2 = lib.new_cell('ro_ring11_ring2')
ro_ring11_ring2.add(gdstk.Reference(xg__ro_nand2_ring2, (0,0)))
ro_ring11_ring2.add(gdstk.Reference(x1__ro_stage_ring2, (9.3,0)))
ro_ring11_ring2.add(gdstk.Reference(x2__ro_stage_ring2, (17.37,0)))
ro_ring11_ring2.add(gdstk.Reference(x3__ro_stage_ring2, (25.44,0)))
ro_ring11_ring2.add(gdstk.Reference(x4__ro_stage_ring2, (33.51,0)))
ro_ring11_ring2.add(gdstk.Reference(x5__ro_stage_ring2, (41.58,0)))
ro_ring11_ring2.add(gdstk.Reference(x6__ro_stage_ring2, (49.65,0)))
ro_ring11_ring2.add(gdstk.Reference(x7__ro_stage_ring2, (57.72,0)))
ro_ring11_ring2.add(gdstk.Reference(x8__ro_stage_ring2, (65.79,0)))
ro_ring11_ring2.add(gdstk.Reference(x9__ro_stage_ring2, (73.86,0)))
ro_ring11_ring2.add(gdstk.Reference(x10__ro_stage_ring2, (81.93,0)))
ro_ring11_ring2.add(gdstk.Reference(wire__ro_ring11_ring2_wi, (0,0)))

lib.write_gds('ro_ring11_ring2.gds')
